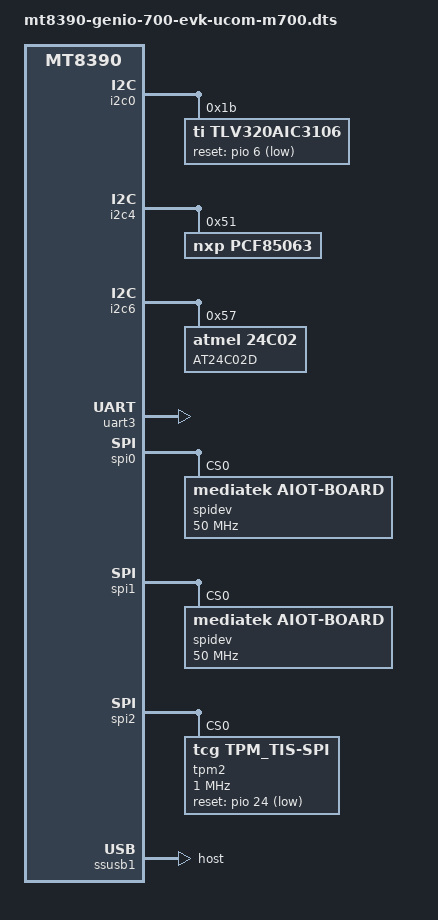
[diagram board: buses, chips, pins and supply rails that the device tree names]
/dts-v1/;

#include "mt8390-genio-700-evk.dts"

/ {
    aliases {
        rtc0 = &pcf85063;
        rtc1 = &mt6359rtc;
    };

    /delete-node/ touch0_fixed_3v3;
    /delete-node/ usb_p0_vbus;
    /delete-node/ usb_hub_reset_1v8;
    /delete-node/ gpio_fixed_3v3;
    /delete-node/ common_fixed_5v;
};

&i2c0 {
    /delete-node/ touchscreen@5d;

    tlv320aic3106: audio-codec@1b {
        #sound-dai-cells = <0>;
		compatible = "ti,tlv320aic3106";
		reg = <0x1b>;
		ai3x-micbias-vg = <1>;
        pinctrl-names = "default";
        pinctrl-0 = <&aic3106_reset_pins>;
		status = "okay";
		reset-gpios = <&pio 6 GPIO_ACTIVE_LOW>;
    };
};

&i2c4 {
    pinctrl-names = "default";
    /delete-property/ pinctrl-1;
    /delete-node/ rt1715@4e;

    pcf85063: pcf85063@51 {
        compatible = "nxp,pcf85063";
    	reg = <0x51>;
	};
};

&i2c6 {
    baseboard_eeprom: baseboard_eeprom@57 {
		compatible = "atmel,24c02";
		label = "AT24C02D";
		reg = <0x57>;
		pagesize = <8>;
		size = <256>;
		address-width = <8>;
		num-addresses = <1>;
	};
};

&uart3 {
	pinctrl-0 = <&uart3_pins>;
	pinctrl-names = "default";
	status = "okay";
};

&spi0 {
    pinctrl-0 = <&spi0_pins>;
	pinctrl-names = "default";
	mediatek,pad-select = <0>;
	#address-cells = <1>;
	#size-cells = <0>;
	status = "okay";

	spidev@0 {
 		compatible = "mediatek,aiot-board";
		spi-max-frequency = <50000000>;
		reg = <0>;
	};
};

&spi1 {
	pinctrl-0 = <&spi1_pins>;
	pinctrl-names = "default";
	mediatek,pad-select = <0>;
	#address-cells = <1>;
	#size-cells = <0>;
	status = "okay";

	spidev@0 {
		compatible = "mediatek,aiot-board";
		spi-max-frequency = <50000000>;
		reg = <0>;
	};
};

&spi2 {
    tpm2: npct75x@0 {
        compatible = "tcg,tpm_tis-spi";
        reg = <0>;
        spi-max-frequency = <1000000>;

        pinctrl-names = "default";
        pinctrl-0 = <&tpm_rst>;

        reset-gpios = <&pio 24 GPIO_ACTIVE_LOW>;
    };
};

&ssusb0 {
    connector {
        /delete-property/ vbus-supply;
    };
};

&ssusb1 {
    /delete-property/ pinctrl-0;
    /delete-property/ pinctrl-names;
    dr_mode = "host";
    maximum-speed = "super-speed";
    /delete-property/ usb-role-switch;
    /delete-node/ port;
};

&xhci1 {
    /delete-property/ vbus-supply;
};

&afe {
    mediatek,etdm-in2-cowork-source = <3>;
};

&sound {
    /* TLV320AIC3106 Playback */
    dai-link-5 {
		link-name = "ETDM2_OUT_BE";
        dai-format = "i2s";
        mediatek,clk-provider = "cpu";
		status = "okay";

		codec {
			sound-dai = <&tlv320aic3106>;
		};
	};
    /* TLV320AIC3106 Capture */
    dai-link-6 {
		link-name = "ETDM2_IN_BE";
        dai-format = "i2s";
        mediatek,clk-provider = "cpu";
		status = "okay";

		codec {
			sound-dai = <&tlv320aic3106>;
		};
	};
};

&edp_panel_3v3_en_pins {
    gpio = <&pio 111 GPIO_ACTIVE_HIGH>;
};

&pio {
    /delete-node/ rt1715_int_pins;
    /delete-node/ usb1_default_pins;
    /delete-node/ touch_pins;
    /delete-node/ wifi_pwrseq_pins;
    /delete-node/ dsi0_en_pins_default;

    gpio_pins: gpiogrp {
        cn29_gpio: cn29grp {
            pinmux = <PINMUX_GPIO0__FUNC_B_GPIO0>,
                     <PINMUX_GPIO1__FUNC_B_GPIO1>,
			         <PINMUX_GPIO3__FUNC_B_GPIO3>,
				     <PINMUX_GPIO5__FUNC_B_GPIO5>,
                     <PINMUX_GPIO7__FUNC_B_GPIO7>,
                     <PINMUX_GPIO123__FUNC_B_GPIO123>;
            output-high;
        };
        cn30_gpio: cn30grp {
            pinmux = <PINMUX_GPIO9__FUNC_B_GPIO9>,
                     <PINMUX_GPIO10__FUNC_B_GPIO10>,
                     <PINMUX_GPIO11__FUNC_B_GPIO11>,
                     <PINMUX_GPIO12__FUNC_B_GPIO12>,
                     <PINMUX_GPIO13__FUNC_B_GPIO13>,
                     <PINMUX_GPIO14__FUNC_B_GPIO14>;
            output-high;
        };
    };

    tpm_rst: tpmgrp {
        pins {
            pinmux = <PINMUX_GPIO24__FUNC_B_GPIO24>;
            output-high;
        };
    };

    uart1_pins {
        pins {
            pinmux = <PINMUX_GPIO33__FUNC_O_UTXD1>,
                <PINMUX_GPIO34__FUNC_I1_URXD1>,
                <PINMUX_GPIO88__FUNC_O_URTS1>,
                <PINMUX_GPIO89__FUNC_I1_UCTS1>;
            bias-pull-up;
        };
    };

    uart2_pins {
        pins {
            pinmux = <PINMUX_GPIO35__FUNC_O_UTXD2>,
                <PINMUX_GPIO36__FUNC_I1_URXD2>,
                <PINMUX_GPIO86__FUNC_O_URTS2>,
                <PINMUX_GPIO87__FUNC_I1_UCTS2>;
            bias-pull-up;
        };
    };

    uart3_pins: uart3-pins {
        pins {
            pinmux = <PINMUX_GPIO90__FUNC_O_UTXD3>,
                <PINMUX_GPIO91__FUNC_I1_URXD3>;
            bias-pull-up;
        };
    };

    aic3106_reset_pins: aic3106-reset-pins {
        pins {
            pinmux = <PINMUX_GPIO6__FUNC_B_GPIO6>;
            output-high;
        };
    };
};

&mmc2_default_pins {
    /delete-node/ pins-pcm;
};

&usb_default_pins {
    /delete-node/ pins-vbus;
};

&wifi_pwrseq {
    status = "disabled";
    /delete-property/ pinctrl-names;
    /delete-property/ pinctrl-0;
    /delete-property/ reset-gpios;
};

&dsi0_en {
    /delete-property/ gpio;
    /delete-property/ pinctrl-names;
    /delete-property/ pinctrl-0;
};

/* ========================================
* CPU Thermal Trip Points
* Alert0   : 105°C
* Alert1   : 110°C
* Critical : 115°C
* ======================================== */

&thermal_zones {
    cpu-little0-thermal {
        trips {
            trip-alert0 {
                temperature = <105000>;
            };
            trip-alert1 {
                temperature = <110000>;
            };
            trip-crit {
                temperature = <115000>;
            };
        };
    };

    cpu-little1-thermal {
        trips {
            trip-alert0 {
                temperature = <105000>;
            };
            trip-alert1 {
                temperature = <110000>;
            };
            trip-crit {
                temperature = <115000>;
            };
        };
    };

    cpu-little2-thermal {
        trips {
            trip-alert0 {
                temperature = <105000>;
            };
            trip-alert1 {
                temperature = <110000>;
            };
            trip-crit {
                temperature = <115000>;
            };
        };
    };

    cpu-little3-thermal {
        trips {
            trip-alert0 {
                temperature = <105000>;
            };
            trip-alert1 {
                temperature = <110000>;
            };
            trip-crit {
                temperature = <115000>;
            };
        };
    };

    cpu-big0-thermal {
        trips {
            trip-alert0 {
                temperature = <105000>;
            };
            trip-alert1 {
                temperature = <110000>;
            };
            trip-crit {
                temperature = <115000>;
            };
        };
    };

    cpu-big1-thermal {
        trips {
            trip-alert0 {
                temperature = <105000>;
            };
            trip-alert1 {
                temperature = <110000>;
            };
            trip-crit {
                temperature = <115000>;
            };
        };
    };
};
